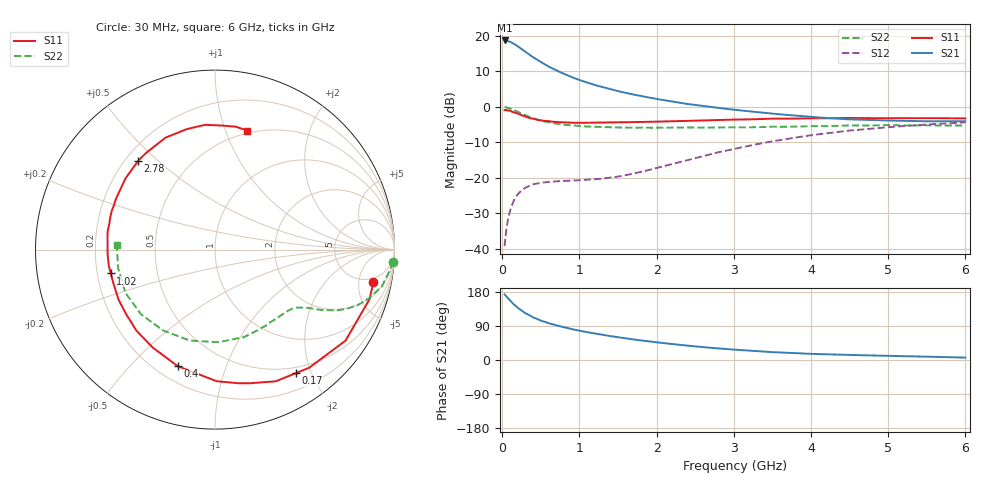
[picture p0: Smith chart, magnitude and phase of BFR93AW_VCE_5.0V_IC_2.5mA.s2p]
! Infineon Technologies  Discrete & RF Semiconductors
! BFR93AW
! VCE =  5.0 V,  IC =  2.5 mA
! Common Emitter S-Parameters:  Nov 2015
# GHz  S  MA  R  50
!  f  S11  S21  S12  S22
! GHz  MAG  ANG  MAG  ANG  MAG  ANG  MAG  ANG
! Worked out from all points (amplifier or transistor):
!   206 points, 30 MHz to 6 GHz, reference 50 ohm
!   highest |S21| = 18.7 dB at 30 MHz (marker M1)
!   |S21| within 3 dB of that: start of sweep to 287.7 MHz
!   unconditionally stable (mu >= 1): 1.165 GHz to 2.278 GHz
!   at 200 MHz: K = 0.18, MSG = 20.9 dB, |S12| = -24.6 dB
!   at 1.56 GHz: K = 1.14, MAG = 9.5 dB, |S12| = -19.4 dB
!   at 6 GHz: K = 0.97, MSG = 0.2 dB, |S12| = -4.4 dB
!   S11 on the Smith chart (normalised r, x): 30 MHz: 3.98, -7.74; 170 MHz: 0.42, -1.77; 400 MHz: 0.28, -0.69; 1.02 GHz: 0.26, -0.11; 2.78 GHz: 0.25, +0.43; 6 GHz: 0.47, +1.19
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0.03  0.901 -11.7  8.612 173.0  0.0109 80.8  0.9932 -3.9
0.05  0.9042 -17.8  8.583 168.1  0.0179 79.8  0.9828 -6.5
0.1  0.8868 -34.9  8.284 157.2  0.0342 71.6  0.952 -12.4
0.15  0.8419 -51.4  7.738 146.6  0.0482 63.5  0.9025 -17.4
0.17  0.8227 -56.8  7.48 143.3  0.0523 60.7  0.8821 -18.9
0.2  0.8082 -65.2  7.143 137.9  0.0586 57.3  0.8528 -21.3
0.26  0.7558 -80.1  6.407 128.7  0.0678 50.5  0.7936 -24.7
0.3  0.7333 -89.3  5.966 123.3  0.0728 47.4  0.7592 -26.5
0.4  0.6817 -107.8  4.993 112.5  0.0811 41.7  0.6886 -29.3
0.5  0.6465 -122.5  4.274 103.9  0.0853 38.2  0.6374 -31.1
0.6  0.629 -134.1  3.693 97.1  0.0877 36.4  0.604 -32.4
0.8  0.6056 -152.5  2.905 86.1  0.0905 36.7  0.5589 -35.3
1.02  0.5959 -167.1  2.347 76.6  0.0928 39.9  0.5358 -38.7
1.04  0.5962 -168.2  2.309 75.8  0.0931 40.3  0.5339 -39.1
1.2  0.5992 -176.7  2.026 69.8  0.0953 44.1  0.5241 -42.2
1.5  0.6065 170.7  1.661 60.1  0.1042 52.7  0.5137 -48.7
2.02  0.6205 152.2  1.282 46.0  0.1393 64.9  0.5084 -62.0
2.78  0.6535 131.1  0.972 30.8  0.2263 69.5  0.5118 -83.3
3.1  0.6631 123.1  0.887 26.1  0.2687 67.6  0.5142 -92.5
4.1  0.6896 101.6  0.709 15.7  0.4104 55.9  0.5344 -126.1
5.1  0.6919 85.7  0.638 10.5  0.5275 40.6  0.5504 -157.3
6  0.6872 74.8  0.627 6.3  0.6038 27.8  0.5478 177.5
